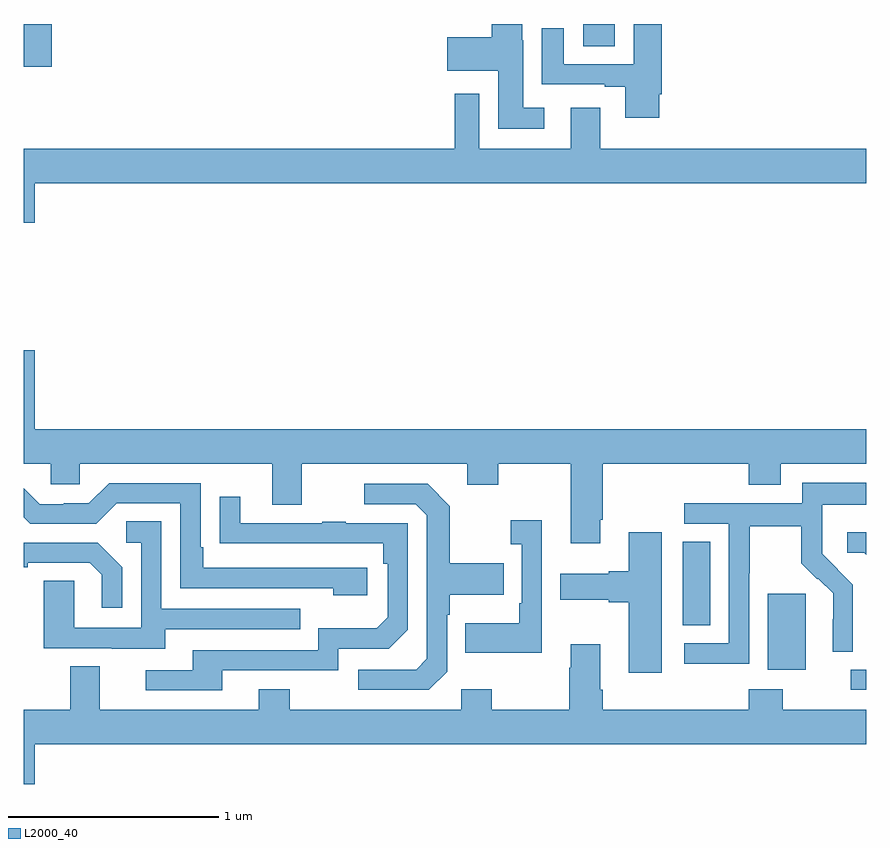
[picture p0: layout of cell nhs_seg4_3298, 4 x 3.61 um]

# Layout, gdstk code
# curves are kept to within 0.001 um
import gdstk
lib = gdstk.Library(unit=1e-6, precision=1e-09)
def R(c, l, rs):  # rectangles x0, y0, x1, y1
    for r in rs: c.add(gdstk.rectangle(r[:2], r[2:], *l))
def P(c, l, *ps):  # polygons
    for p in ps: c.add(gdstk.Polygon(p, *l))
L2000_40 = (2000, 40)

nhs_seg4_3298 = lib.new_cell('nhs_seg4_3298')
R(nhs_seg4_3298, L2000_40, [(288.927,803.739,289,803.835), (288.533,803.834,288.712,804.195), (288.128,804.046,288.259,804.443), (285,806.697,285.134,806.9), (287.657,806.794,287.806,806.9)])
P(nhs_seg4_3298, L2000_40, [(287.47,806.503),(287.371,806.503),(287.371,806.822),(287.367,806.822),(287.367,806.9),(287.222,806.9),(287.222,806.836),(287.01,806.836),(287.01,806.678),(287.252,806.678),(287.252,806.402),(287.47,806.402)],
  [(288.016,806.566),(288.029,806.566),(288.029,806.9),(287.897,806.9),(287.897,806.709),(287.563,806.709),(287.563,806.881),(287.459,806.881),(287.459,806.613),(287.759,806.613),(287.759,806.601),(287.855,806.601),(287.855,806.454),(288.016,806.454)],
  [(285.052,806.144),(289,806.144),(289,806.308),(287.737,806.308),(287.737,806.503),(287.597,806.503),(287.597,806.308),(287.163,806.308),(287.163,806.569),(287.047,806.569),(287.047,806.308),(285,806.308),(285,805.956),(285.052,805.956)],
  [(285.052,805.351),(285,805.351),(285,804.812),(285.129,804.812),(285.129,804.714),(285.267,804.714),(285.267,804.812),(286.181,804.812),(286.181,804.618),(286.321,804.618),(286.321,804.812),(287.105,804.812),(287.105,804.713),(287.253,804.713),(287.253,804.812),(287.597,804.812),(287.597,804.435),(287.737,804.435),(287.737,804.547),(287.75,804.547),(287.75,804.812),(288.443,804.812),(288.443,804.713),(288.595,804.713),(288.595,804.812),(289,804.812),(289,804.976),(285.052,804.976)],
  [(288.444,804.292),(288.447,804.292),(288.447,804.516),(288.691,804.516),(288.691,804.341),(288.768,804.264),(288.771,804.267),(288.842,804.197),(288.842,804.074),(288.84,804.074),(288.84,803.92),(288.936,803.92),(288.936,804.238),(288.79,804.386),(288.79,804.483),(288.792,804.483),(288.792,804.617),(289,804.617),(289,804.721),(288.696,804.721),(288.696,804.624),(288.135,804.624),(288.135,804.528),(288.348,804.528),(288.348,803.961),(288.135,803.961),(288.135,803.863),(288.444,803.863)],
  [(286.63,804.318),(285.853,804.318),(285.853,804.415),(285.84,804.415),(285.84,804.72),(285.405,804.72),(285.309,804.624),(285.191,804.624),(285.191,804.621),(285.075,804.621),(285,804.696),(285,804.558),(285.03,804.528),(285.345,804.528),(285.441,804.624),(285.744,804.624),(285.744,804.222),(286.469,804.222),(286.469,804.188),(286.63,804.188)],
  [(287.01,803.826),(287.01,804.095),(287.023,804.095),(287.023,804.191),(287.279,804.191),(287.279,804.339),(287.023,804.339),(287.023,804.611),(286.917,804.717),(286.617,804.717),(286.617,804.621),(286.86,804.621),(286.914,804.567),(286.914,803.886),(286.863,803.835),(286.587,803.835),(286.587,803.739),(286.923,803.739)],
  [(285.943,803.832),(286.494,803.832),(286.494,803.934),(286.734,803.934),(286.824,804.024),(286.824,804.531),(286.529,804.531),(286.529,804.536),(286.417,804.536),(286.417,804.531),(286.027,804.531),(286.027,804.655),(285.931,804.655),(285.931,804.436),(286.708,804.435),(286.708,804.338),(286.728,804.338),(286.728,804.084),(286.675,804.031),(286.398,804.031),(286.398,803.928),(285.803,803.928),(285.803,803.832),(285.579,803.832),(285.579,803.736),(285.943,803.736)],
  [(287.46,804.544),(287.313,804.544),(287.313,804.431),(287.364,804.431),(287.364,804.151),(287.352,804.151),(287.352,804.055),(287.095,804.055),(287.095,803.915),(287.46,803.915)],
  [(285.673,804.027),(286.313,804.027),(286.313,804.123),(285.654,804.123),(285.654,804.539),(285.486,804.539),(285.486,804.438),(285.558,804.438),(285.558,804.033),(285.24,804.033),(285.24,804.257),(285.095,804.257),(285.095,803.937),(285.419,803.937),(285.419,803.933),(285.673,803.933)],
  [(288.028,804.487),(287.873,804.487),(287.873,804.302),(287.777,804.302),(287.777,804.289),(287.547,804.289),(287.547,804.167),(287.777,804.167),(287.777,804.155),(287.873,804.155),(287.873,803.82),(288.028,803.82)],
  [(289,804.487),(288.909,804.487),(288.909,804.39),(288.99,804.39),(289,804.38)],
  [(285.468,804.322),(285.352,804.438),(285,804.438),(285,804.32),(285.019,804.32),(285.019,804.342),(285.314,804.342),(285.371,804.285),(285.371,804.129),(285.468,804.129)],
  [(287.597,803.956),(287.597,803.843),(287.59,803.843),(287.59,803.644),(287.223,803.644),(287.223,803.743),(287.076,803.743),(287.076,803.644),(286.263,803.644),(286.263,803.743),(286.115,803.743),(286.115,803.644),(285.361,803.644),(285.361,803.852),(285.221,803.852),(285.221,803.644),(285,803.644),(285,803.292),(285.052,803.292),(285.052,803.48),(289,803.48),(289,803.644),(288.603,803.644),(288.603,803.743),(288.443,803.743),(288.443,803.644),(287.75,803.644),(287.75,803.74),(287.737,803.74),(287.737,803.956)])

lib.write_gds('nhs_seg4_3298.gds')
